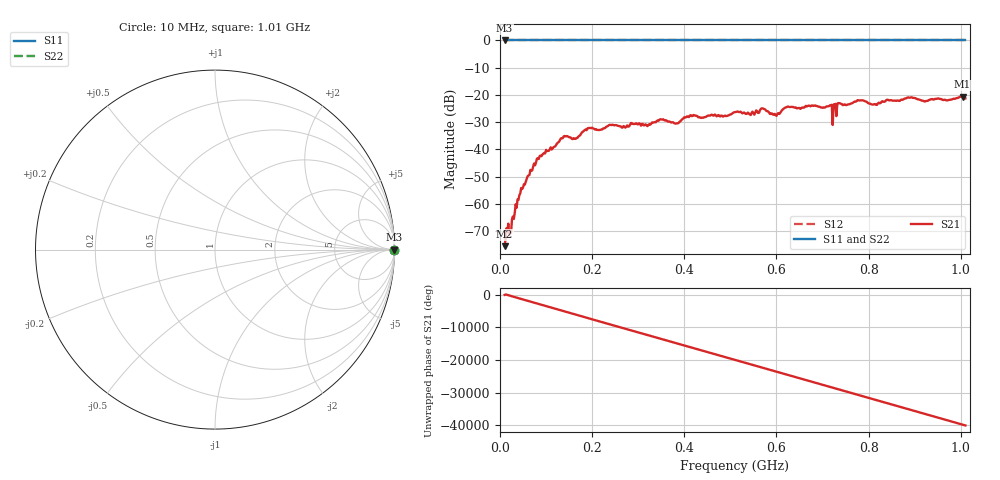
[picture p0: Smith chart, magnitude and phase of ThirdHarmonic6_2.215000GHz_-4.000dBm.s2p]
! 8/17/2025 2:23:00 AM
! C:\ANRITSUVNA\TEMP\TEMP.S2P
! CHANNEL.1
! TR.MEASUREMENT
! RAW.DATA
! RF.CORRECTION.OFF
! AVERAGING.OFF
! IF.BANDWIDTH: 5KHZ
! SWEEPTYPE:  FREQ.SWEEP(Linear)
! Reference Plane Port Info
! PORT:  PORT1  PORT2
! DISTANCE:  0  m  0  m
! TIME:  0  s  0  s
! PHASE.OFFSET:  0  deg.  0  deg.
! LOSS:  0  dB  0  dB
! REF.LOSS:  0  dB  0  dB
! REF.FREQ:  0  Hz  0  Hz
! Power Info
! POWER:  -20  dBm  -20  dBm
! EFF.POWER:  -20  dBm  -20  dBm
! SOURCE.ATTEN:  0  dB  0  dB
! TEST.ATTEN:  0  dB  0  dB
# GHZ S RI R 50.0
! FREQ.GHZ  S11RE  S11IM  S21RE  S21IM  S12RE  S12IM  S22RE  S22IM
!; PortSelection: Port_12
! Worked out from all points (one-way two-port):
!   501 points, 10 MHz to 1.01 GHz, reference 50 ohm
!   highest |S21| = -20.62 dB at 1.004 GHz (marker M1); lowest = -75.5 dB at 10 MHz (marker M2)
!   lowest |S11| = 0.0 dB at 10 MHz (marker M3)
!   |S11| at or under -10 dB: nowhere
!   |S22| runs from 0.0 to 0.0 dB; largest |S21 - S12| = 1.1
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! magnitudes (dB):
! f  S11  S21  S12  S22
! 10 MHz  0.0  -75.5  0.0  0.0
! 24 MHz  0.0  -70.6  0.0  0.0
! 46 MHz  0.0  -54.1  0.0  0.0
! 84 MHz  0.0  -43.5  0.0  0.0
! 136 MHz  0.0  -35.9  0.0  0.0
! 162 MHz  0.0  -36.0  0.0  0.0
! 178 MHz  0.0  -33.7  0.0  0.0
! 344 MHz  0.0  -29.5  0.0  0.0
! 384 MHz  0.0  -30.4  0.0  0.0
! 416 MHz  0.0  -27.8  0.0  0.0
! 510 MHz  0.0  -26.3  0.0  0.0
! 548 MHz  0.0  -26.1  0.0  0.0
! 570 MHz  0.0  -24.9  0.0  0.0
! 596 MHz  0.0  -26.9  0.0  0.0
! 622 MHz  0.0  -24.5  0.0  0.0
! 678 MHz  0.0  -23.9  0.0  0.0
! 716 MHz  0.0  -23.8  0.0  0.0
! 726 MHz  0.0  -23.5  0.0  0.0
! 736 MHz  0.0  -23.0  0.0  0.0
! 844 MHz  0.0  -22.0  0.0  0.0
! 1.004 GHz  0.0  -20.6  0.0  0.0
! 1.01 GHz  0.0  -21.3  0.0  0.0
